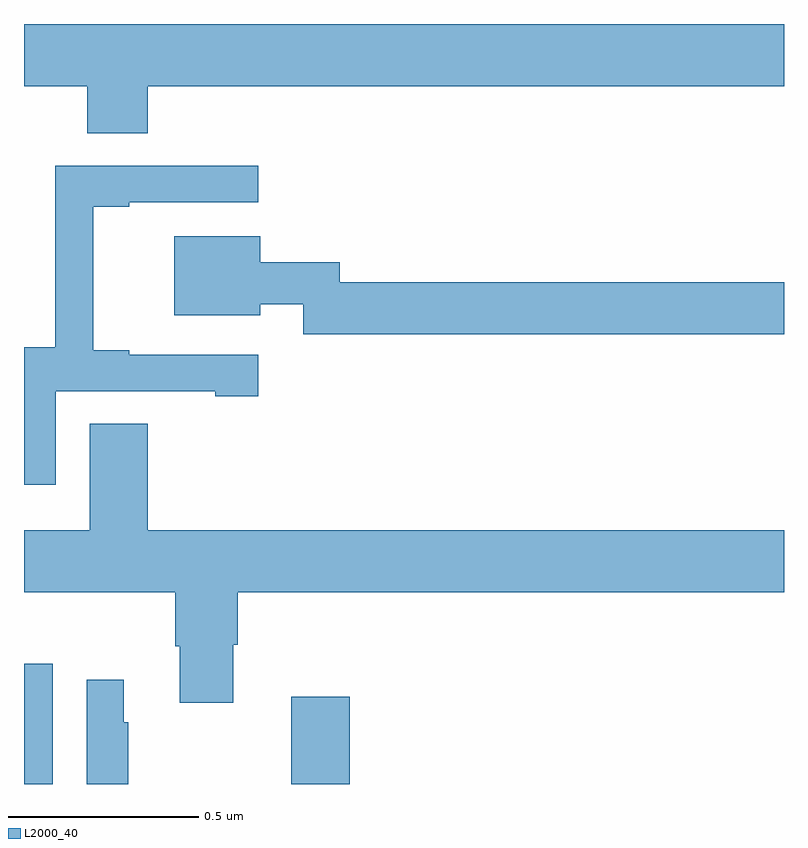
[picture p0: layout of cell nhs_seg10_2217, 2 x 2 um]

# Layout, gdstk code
import gdstk
lib = gdstk.Library(unit=1e-6, precision=1e-09)
def R(c, l, rs):  # rectangles x0, y0, x1, y1
    for r in rs: c.add(gdstk.rectangle(r[:2], r[2:], *l))
def P(c, l, *ps):  # polygons
    for p in ps: c.add(gdstk.Polygon(p, *l))
L2000_40 = (2000, 40)

nhs_seg10_2217 = lib.new_cell('nhs_seg10_2217')
R(nhs_seg10_2217, L2000_40, [(138,1278.5,138.075,1278.816), (138.703,1278.5,138.857,1278.73)])
P(nhs_seg10_2217, L2000_40, [(138.326,1280.336),(140,1280.336),(140,1280.5),(138,1280.5),(138,1280.336),(138.166,1280.336),(138.166,1280.212),(138.326,1280.212)],
  [(138.084,1279.533),(138.503,1279.533),(138.503,1279.521),(138.616,1279.521),(138.616,1279.629),(138.277,1279.629),(138.277,1279.642),(138.182,1279.642),(138.182,1280.019),(138.277,1280.019),(138.277,1280.031),(138.616,1280.031),(138.616,1280.127),(138.082,1280.127),(138.082,1279.649),(138,1279.649),(138,1279.287),(138.084,1279.287)],
  [(140,1279.82),(138.831,1279.82),(138.831,1279.873),(138.622,1279.873),(138.622,1279.942),(138.395,1279.942),(138.395,1279.733),(138.622,1279.733),(138.622,1279.763),(138.735,1279.763),(138.735,1279.684),(140,1279.684)],
  [(138.55,1278.867),(138.563,1278.867),(138.563,1279.004),(140,1279.004),(140,1279.168),(138.326,1279.168),(138.326,1279.448),(138.173,1279.448),(138.173,1279.168),(138,1279.168),(138,1279.004),(138.398,1279.004),(138.398,1278.862),(138.41,1278.862),(138.41,1278.714),(138.55,1278.714)],
  [(138.274,1278.662),(138.262,1278.662),(138.262,1278.775),(138.165,1278.775),(138.165,1278.5),(138.274,1278.5)])

lib.write_gds('nhs_seg10_2217.gds')
